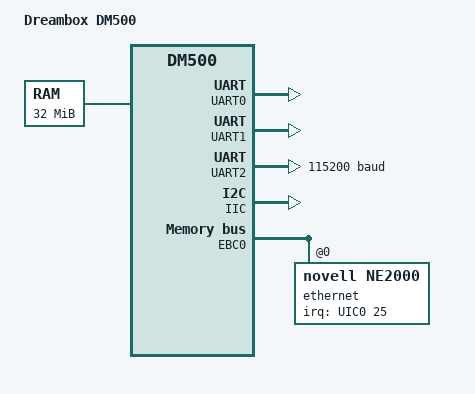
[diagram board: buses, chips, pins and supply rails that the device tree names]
/*
 * Device Tree Source for Dreambox DM500 S/C/T
 *
 * Copyright 2015 Alba Mendez
 *
 *
 * This file is licensed under the terms of the GNU General Public
 * License version 2.  This program is licensed "as is" without
 * any warranty of any kind, whether express or implied.
 */

/dts-v1/;

/ {
	#address-cells = <1>;
	#size-cells = <1>;
	platform = "IBM STBx25xx";
	model = "Dreambox DM500";
	compatible = "ibm,stbx25xx", "dreambox,dm500";
	dcr-parent = <&{/cpus/cpu@0}>;

	aliases {
		serial0 = &UART0;
		serial1 = &UART1;
		serial2 = &UART2;
	};

	cpus {
		#address-cells = <1>;
		#size-cells = <0>;

		cpu@0 {
			device_type = "cpu";
			model = "PowerPC,STBx25xx";
			reg = <0x00000000>;
			clock-frequency = <252000000>; /* Filled in by zImage */
			timebase-frequency = <27000000>; /* Filled in by zImage */
			i-cache-line-size = <32>;
			d-cache-line-size = <32>;
			i-cache-size = <16384>;
			d-cache-size = <16384>;
			dcr-controller;
			dcr-access-method = "native";
		};
	};

	memory {
		device_type = "memory";
		reg = <0x00000000 0x02000000>; /* 32 MB */
	};

	UIC0: interrupt-controller {
		compatible = "ibm,uic";
		interrupt-controller;
		cell-index = <0>;
		dcr-reg = <0x040 0x009>;
		#address-cells = <0>;
		#size-cells = <0>;
		#interrupt-cells = <2>;
	};

	plb {
		compatible = "ibm,plb3";
		#address-cells = <1>;
		#size-cells = <1>;
		ranges;
		clock-frequency = <63000000>; /* Filled in by zImage */

		POB0: opb {
			compatible = "ibm,opb-stbx25xx", "ibm,opb";
			#address-cells = <1>;
			#size-cells = <1>;
			ranges = <0 0x40000000 0x00100000>;
			dcr-reg = <0x054 0x013 0x0b0 0x003>;
			clock-frequency = <63000000>; /* Filled in by zImage */

			UART0: serial@40000 {
				device_type = "serial";
				compatible = "ns16550";
				reg = <0x40000 0x8>;
				clock-frequency = <21000000>; /* Filled in by zImage */
				interrupt-parent = <&UIC0>;
				interrupts = <20 4>;
			};

			UART1: serial@00000 {
				device_type = "serial";
				compatible = "ns16550";
				reg = <0x00000 0x8>;
				clock-frequency = <21000000>; /* Filled in by zImage */
				interrupt-parent = <&UIC0>;
				interrupts = <21 4>;
			};
			
			UART2: serial@10000 {
				device_type = "serial";
				compatible = "ns16550";
				reg = <0x10000 0x8>;
				clock-frequency = <21000000>; /* Filled in by zImage */
				current-speed = <115200>;
				interrupt-parent = <&UIC0>;
				interrupts = <22 4>;
			};

			IIC: i2c@30000 {
				compatible = "ibm,iic-stbx25xx";
				reg = <0x30000 0x10>;
				interrupt-parent = <&UIC0>;
				interrupts = <9 4>;
			};

			GPIO: gpio@60000 {
				compatible = "ibm,ppc4xx-gpio";
				reg = <0x60000 0x20>;
			};

		};

		flash@7f800000 {
			compatible = "cfi-flash";
			reg = <0x7f800000 0x00800000>;
			bank-width = <2>;
			#address-cells = <1>;
			#size-cells = <1>;
			/* FIXME: Vpp switching! */

			fw@0 { /* Convenience partition. */
				reg = <0x000000 0x600000>;
				label = "DreamBOX CramFS + SquashFS";
			};
			jffs@600000 {
				reg = <0x600000 0x1c0000>;
				label = "JFFS2";
			};
			bios@7c0000 {
				reg = <0x7c0000 0x040000>;
				label = "OpenBIOS";
				read-only;
			};
			fwrw@0 { /* Convenience partition. */
				reg = <0x000000 0x7c0000>;
				label = "DreamBOX CramFS + SquashFS + JFFS2";
			};
			all@0 { /* Convenience partition. */
				reg = <0x000000 0x800000>;
				label = "DreamBOX (with bootloader)";
				read-only;
			};
			squashfs@120000 {
				reg = <0x120000 0x4e0000>;
				label = "SquashFS";
			};
			cramfs@0 {
				reg = <0x000000 0x120000>;
				label = "CramFS";
			};
		};

		dvb@0 {
			compatible = "ibm,stbx25xx-dvb";
			interrupt-parent = <&UIC0>;
			interrupts = <1 4 2 4 3 4 23 4>;
		};

		EBC0: ebc {
			compatible = "ibm,ebc-stbx25xx", "ibm,ebc";
			dcr-reg = <0x070 0x02b>;
			#address-cells = <2>;
			#size-cells = <1>;
			ranges = <0 0 0xf2000000 0x1000>; /* FIXME */
			clock-frequency = <63000000>; /* Filled in by zImage */

			ethernet@0,600 {
				compatible = "novell,ne2000";
				reg = <0 0x600 0x40>;
				interrupt-parent = <&UIC0>;
				interrupts = <25 8>;
			};

		};
	};

	chosen {
		linux,stdout-path = "/plb/opb/serial@40000";
	};
};
